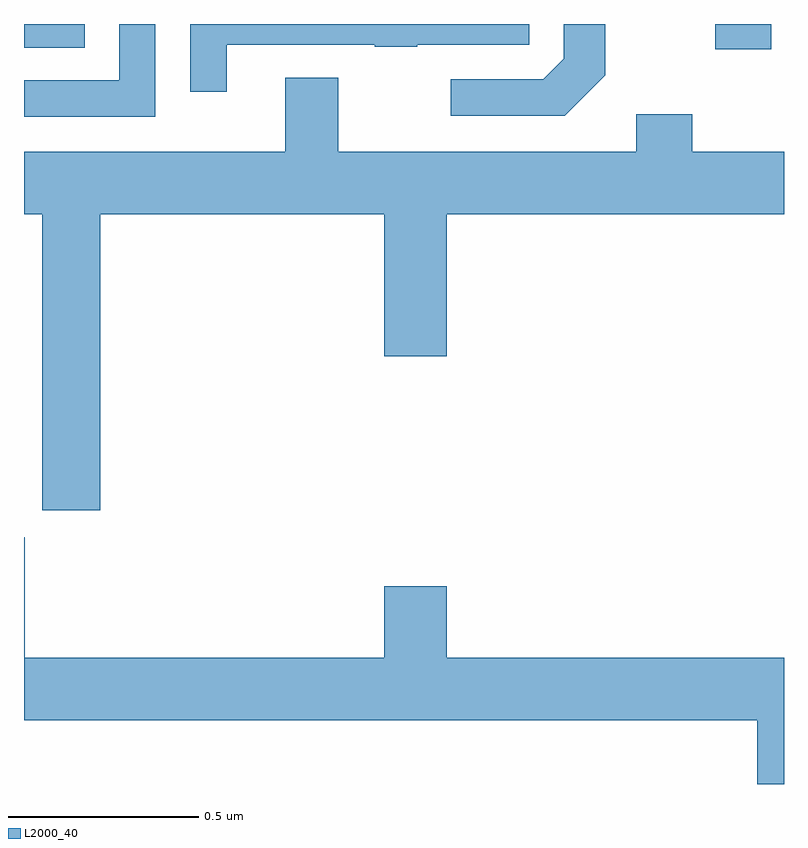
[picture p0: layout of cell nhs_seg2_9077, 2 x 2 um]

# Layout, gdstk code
import gdstk
lib = gdstk.Library(unit=1e-6, precision=1e-09)
def R(c, l, rs):  # rectangles x0, y0, x1, y1
    for r in rs: c.add(gdstk.rectangle(r[:2], r[2:], *l))
def P(c, l, *ps):  # polygons
    for p in ps: c.add(gdstk.Polygon(p, *l))
L2000_40 = (2000, 40)

nhs_seg2_9077 = lib.new_cell('nhs_seg2_9077')
R(nhs_seg2_9077, L2000_40, [(225.819,650.733,225.967,650.8), (224,650.737,224.16,650.8)])
P(nhs_seg2_9077, L2000_40, [(224.533,650.745),(224.923,650.745),(224.923,650.74),(225.035,650.74),(225.035,650.745),(225.33,650.745),(225.33,650.8),(224.437,650.8),(224.437,650.622),(224.533,650.622)],
  [(225.529,650.665),(225.529,650.8),(225.42,650.8),(225.42,650.709),(225.366,650.655),(225.123,650.655),(225.123,650.559),(225.423,650.559)],
  [(224.346,650.8),(224.25,650.8),(224.25,650.652),(224,650.652),(224,650.556),(224.346,650.556)],
  [(224.201,650.3),(224.948,650.3),(224.948,649.926),(225.112,649.926),(225.112,650.3),(226,650.3),(226,650.464),(225.759,650.464),(225.759,650.563),(225.611,650.563),(225.611,650.464),(224.827,650.464),(224.827,650.659),(224.687,650.659),(224.687,650.464),(224,650.464),(224,650.3),(224.048,650.3),(224.048,649.521),(224.201,649.521)],
  [(224.948,649.321),(224.948,649.132),(224.002,649.132),(224.002,649.449),(224,649.449),(224,648.968),(225.929,648.968),(225.929,648.8),(226,648.8),(226,649.132),(225.112,649.132),(225.112,649.321)])

lib.write_gds('nhs_seg2_9077.gds')
